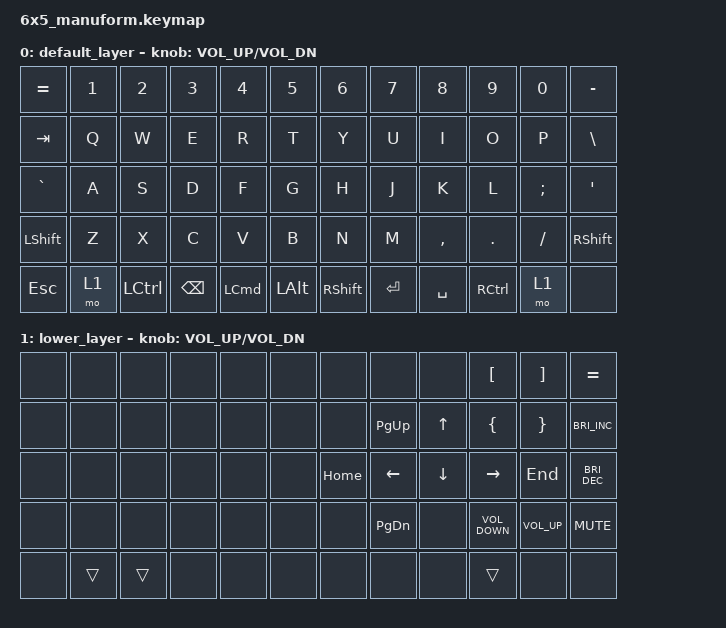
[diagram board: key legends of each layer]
/*
 * Copyright (c) 2020 The ZMK Contributors
 *
 * SPDX-License-Identifier: MIT
 */

#include <behaviors.dtsi>
#include <dt-bindings/zmk/keys.h>

/ {
    keymap {
        compatible = "zmk,keymap";

        default_layer {
            // ------------------------------------------------------------------------------------------------------------
            // |  ESC   |  1  |  2  |  3   |  4   |  5   |                    |  6   |  7    |  8    |  9   |   0   |   `   |
            // |  TAB   |  Q  |  W  |  E   |  R   |  T   |                    |  Y   |  U    |  I    |  O   |   P   |   -   |
            // |  CTRL  |  A  |  S  |  D   |  F   |  G   |                    |  H   |  J    |  K    |  L   |   ;   |   '   |
            // | SHIFT  |  Z  |  X  |  C   |  V   |  B   |                    |  N   |  M    |  ,    |  .   |   /   | SHIFT |
            // |    2   |  2  | f   | 6    | 4    | 1    |                    | 2    | 1     | w     | s    | n     |  a    |

            bindings = <
 &kp EQUAL  &kp N1     &kp N2         &kp N3            &kp N4    &kp N5      &kp N6   &kp N7     &kp N8     &kp N9    &kp N0         &kp MINUS
   &kp TAB   &kp Q      &kp W          &kp E             &kp R     &kp T       &kp Y    &kp U      &kp I      &kp O     &kp P          &kp BSLH
 &kp GRAVE   &kp A      &kp S          &kp D             &kp F     &kp G       &kp H    &kp J      &kp K      &kp L  &kp SEMI  &kp SINGLE_QUOTE
&kp LSHIFT   &kp Z      &kp X          &kp C             &kp V     &kp B       &kp N    &kp M  &kp COMMA    &kp DOT  &kp FSLH        &kp RSHIFT
   &kp ESC   &mo 1  &kp LCTRL  &kp BACKSPACE  &kp LEFT_COMMAND  &kp LALT  &kp RSHIFT  &kp RET  &kp SPACE  &kp RCTRL     &mo 1             &none
            >;

            sensor-bindings = <&inc_dec_kp C_VOL_UP C_VOL_DN>;
        };

        lower_layer {
            // ------------------------------------------------------------------------------------------------------------
            // | BTCLR | BT1 | BT2 |  BT3 |  BT4 |  BT5 |                   |      |       |       |      |       |       |
            // |  F1   |  F2 |  F3 |  F4  |  F5  |  F6  |                   |  F7  |  F8   |  F9   |  F10 |  F11  |  F12  |
            // |   `   |  !  |  @  |  #   |  $   |  %   |                   |  ^   |  &    |  *    |  (   |   )   |   ~   |
            // |       |     |     |      |      |      |                   |      |  _    |  +    |  {   |   }   |  "|"  |
            // |       |     |     |      |      |      |                   |      |       |       |      |       |       |

            bindings = <
&none   &none   &none  &none  &none  &none     &none          &none     &none           &kp LBKT      &kp RBKT             &kp EQUAL
&none   &none   &none  &none  &none  &none     &none    &kp PAGE_UP    &kp UP           &kp LBRC      &kp RBRC  &kp C_BRIGHTNESS_INC
&none   &none   &none  &none  &none  &none  &kp HOME       &kp LEFT  &kp DOWN          &kp RIGHT       &kp END  &kp C_BRIGHTNESS_DEC
&none   &none   &none  &none  &none  &none     &none  &kp PAGE_DOWN     &none  &kp C_VOLUME_DOWN  &kp C_VOL_UP            &kp C_MUTE
&none  &trans  &trans  &none  &none  &none     &none          &none     &none             &trans         &none                 &none
            >;

            sensor-bindings = <&inc_dec_kp C_VOL_UP C_VOL_DN>;
        };
    };
};
